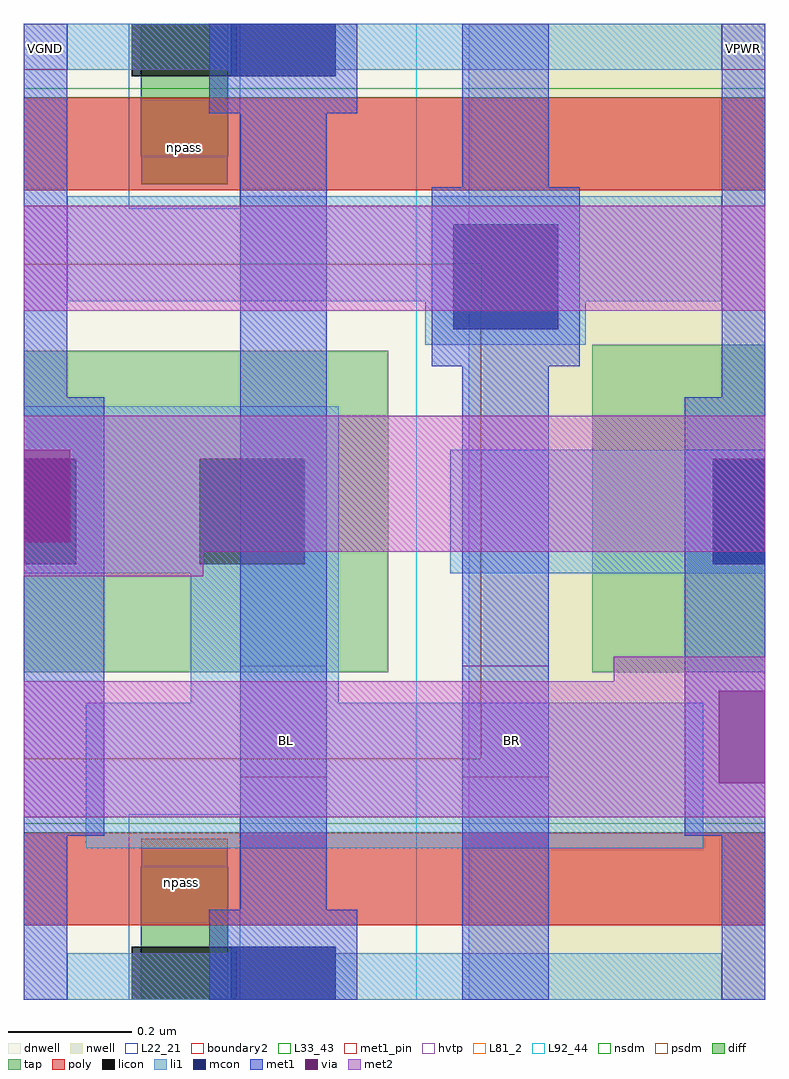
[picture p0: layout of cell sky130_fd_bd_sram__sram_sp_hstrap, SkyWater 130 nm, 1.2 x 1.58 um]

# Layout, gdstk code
import gdstk
lib = gdstk.Library(unit=1e-6, precision=1e-09)
def R(c, l, rs):  # rectangles x0, y0, x1, y1
    for r in rs: c.add(gdstk.rectangle(r[:2], r[2:], *l))
def P(c, l, *ps):  # polygons
    for p in ps: c.add(gdstk.Polygon(p, *l))
L22_21 = (22, 21)
L33_43 = (33, 43)
dnwell = (64, 18)
nwell = (64, 20)
diff = (65, 20)
tap = (65, 44)
poly = (66, 20)
licon = (66, 44)
li1 = (67, 20)
mcon = (67, 44)
met1_pin = (68, 16)
met1 = (68, 20)
via = (68, 44)
met2 = (69, 20)
hvtp = (78, 44)
L81_2 = (81, 2)
L92_44 = (92, 44)
nsdm = (93, 44)
psdm = (94, 20)
boundary2 = (236, 0)

sky130_fd_bd_sram__sram_ = lib.new_cell('sky130_fd_bd_sram__sram_sp_hstrap')
R(sky130_fd_bd_sram__sram_, L22_21, [(-1.03,-1.58,-1.01,-1.28), (-0.87,-1.58,-0.85,-1.28), (-1.03,-1.365,-0.85,-1.28), (-1.03,-0.3,-0.85,-0.215), (-1.03,-0.3,-1.01,0), (-0.87,-0.3,-0.85,0)])
R(sky130_fd_bd_sram__sram_, L33_43, [(-1.2,-1.31,-1.12,-1.295), (-1.12,-1.31,0,-1.295), (-1.2,-0.12,-1.12,-0.105), (-1.12,-0.12,0,-0.105)])
R(sky130_fd_bd_sram__sram_, dnwell, [(-1.2,-1.58,0,0)])
R(sky130_fd_bd_sram__sram_, nwell, [(-0.48,-1.58,0,0)])
R(sky130_fd_bd_sram__sram_, diff, [(-1.01,-1.58,-0.87,-1.32), (-1.01,-0.26,-0.87,0)])
R(sky130_fd_bd_sram__sram_, tap, [(-1.2,-1.05,-0.61,-0.53), (-0.28,-1.05,0,-0.52)])
R(sky130_fd_bd_sram__sram_, poly, [(-1.2,-1.46,-1.12,-1.31), (-1.12,-1.46,0,-1.31), (-1.2,-0.27,-1.12,-0.12), (-1.12,-0.27,0,-0.12)])
R(sky130_fd_bd_sram__sram_, licon, [(-1.025,-1.58,-0.855,-1.495), (-0.915,-0.875,-0.745,-0.705), (-0.085,-0.875,0,-0.705), (-1.025,-0.085,-0.855,0)])
R(sky130_fd_bd_sram__sram_, li1, [(-1.13,-1.58,-0.07,-1.505), (-0.865,-1.58,-0.695,-1.495), (-1.1,-1.335,-0.1,-1.1), (-0.93,-1.1,-0.69,-0.89), (-1.2,-0.89,-0.69,-0.62), (-0.51,-0.89,0,-0.69), (-0.55,-0.52,-0.29,-0.28), (-1.13,-0.45,-0.07,-0.28), (-0.865,-0.085,-0.695,0), (-1.13,-0.075,-0.07,0)])
R(sky130_fd_bd_sram__sram_, mcon, [(-0.865,-1.58,-0.695,-1.495), (-1.2,-0.875,-1.115,-0.705), (-0.085,-0.875,0,-0.705), (-0.085,-0.875,0,-0.705), (-0.505,-0.495,-0.335,-0.325), (-0.865,-0.085,-0.695,0)])
R(sky130_fd_bd_sram__sram_, met1_pin, [(-0.85,-1.22,-0.71,-1.04), (-0.49,-1.22,-0.35,-1.04), (-1.2,-0.075,-1.13,0), (-0.07,-0.075,0,0)])
R(sky130_fd_bd_sram__sram_, met1, [(-1.2,-1.58,-1.13,-1.315), (-0.9,-1.58,-0.66,-1.435), (-0.85,-1.58,-0.71,0), (-0.49,-1.58,-0.35,0), (-0.07,-1.58,0,-0.925), (-1.2,-1.315,-1.07,-0.605), (-0.13,-1.315,0,-0.925), (-0.13,-0.925,0,-0.605), (-1.2,-0.605,-1.13,0), (-0.07,-0.605,0,0), (-0.54,-0.555,-0.3,-0.265), (-0.9,-0.145,-0.66,0)])
R(sky130_fd_bd_sram__sram_, via, [(-0.075,-1.23,0,-1.08), (-1.2,-0.84,-1.125,-0.69)])
R(sky130_fd_bd_sram__sram_, met2, [(-1.2,-0.465,0,-0.295)])
P(sky130_fd_bd_sram__sram_, met2, [(-1.2,-0.895),(-1.2,-0.635),(0,-0.635),(0,-0.855),(-0.91,-0.855),(-0.91,-0.895)],
  [(-1.2,-1.285),(-1.2,-1.065),(-0.245,-1.065),(-0.245,-1.025),(0,-1.025),(0,-1.285)])
R(sky130_fd_bd_sram__sram_, hvtp, [(-0.48,-1.58,0,0)])
R(sky130_fd_bd_sram__sram_, L81_2, [(-1.2,-1.58,0,0)])
R(sky130_fd_bd_sram__sram_, L92_44, [(-0.565,-1.58,0,0)])
R(sky130_fd_bd_sram__sram_, nsdm, [(-1.2,-1.58,0,-1.19), (-0.46,-1.19,0,-0.39), (-1.2,-0.39,0,0)])
R(sky130_fd_bd_sram__sram_, psdm, [(-1.2,-1.19,-0.46,-0.39)])
R(sky130_fd_bd_sram__sram_, boundary2, [(-1.2,-1.58,0,0)])
sky130_fd_bd_sram__sram_.add(gdstk.Label('npass', (-0.94,-0.2), layer=66, texttype=83))
sky130_fd_bd_sram__sram_.add(gdstk.Label('npass', (-0.945,-1.39), layer=66, texttype=83))
sky130_fd_bd_sram__sram_.add(gdstk.Label('BL', (-0.775,-1.16), layer=68, texttype=5))
sky130_fd_bd_sram__sram_.add(gdstk.Label('BR', (-0.41,-1.16), layer=68, texttype=5))
sky130_fd_bd_sram__sram_.add(gdstk.Label('VGND', (-1.165,-0.04), layer=68, texttype=5))
sky130_fd_bd_sram__sram_.add(gdstk.Label('VPWR', (-0.035,-0.04), layer=68, texttype=5))

lib.write_gds('sky130_fd_bd_sram__sram_sp_hstrap.gds')
